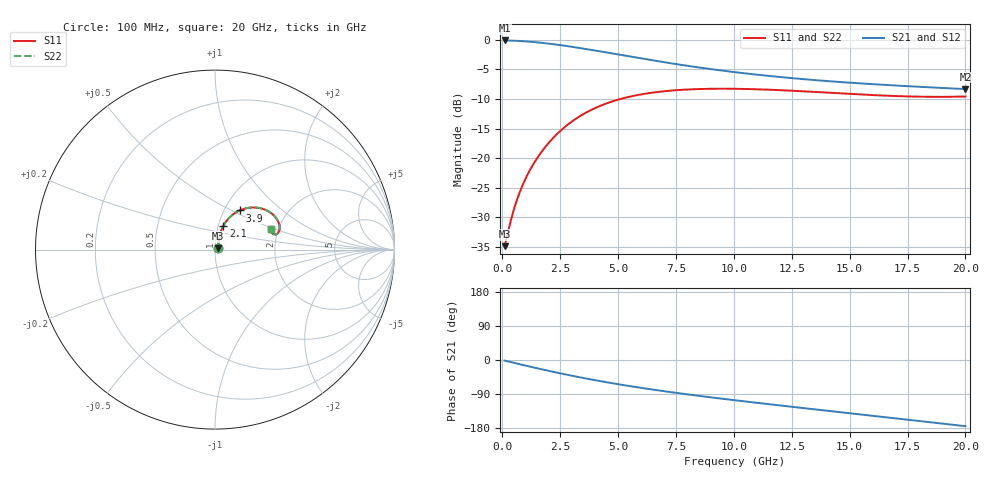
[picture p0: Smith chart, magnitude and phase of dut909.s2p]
! Touchstone file exported from HFSS 2024.1.0
!  File:  C:/UserFiles/LocalFiles/RDL_TSV_Batchsim/temp_RDL_TSV_909_1779955497.aedt
!  Generated:  04:21:03 PM May 28, 2026
!  Design:  RDL_TSV
!  Project:  temp_RDL_TSV_909_1779955497
!  Setup:  Setup1
!  Solution:  Sweep
! Variables:
!  dtsv = 5.76um
!  hbump = 3um
!  htsv = 87.32um
!  ldown = 552.06um
!  lrdl = 160.5um
!  p = 40
!  p1 = 51.88um
!  rhole = 10um
!  subl = 2298.18um
!  t = 450um
!  tdown = 3.81um
!  trdl = 4.17um
!  viad = 10um
!  wdown = 15.46um
!  wrdl = 10.64um
!  xbump = 18um
# GHz S MA R 50.000000
! Terminal data exported
! Port[1] = TM1_1_T1
! Port[2] = TM1_4_T1
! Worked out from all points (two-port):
!   200 points, 100 MHz to 20 GHz, reference 50 ohm
!   highest |S21| = -0.15 dB at 100 MHz (marker M1); lowest = -8.4 dB at 20 GHz (marker M2)
!   |S21| within 3 dB of the highest: start of sweep to 5.945 GHz
!   lowest |S11| = -34.8 dB at 100 MHz (marker M3), VSWR 1.04, Z = 51.7 + j0.681 ohm
!   |S11| at or under -10 dB: start of sweep to 5.124 GHz
!   |S22| runs from -34.8 to -8.3 dB; largest |S21 - S12| = 1.7e-14
!   S11 on the Smith chart (normalised r, x): 100 MHz: 1.03, +0.01; 2.1 GHz: 1.06, +0.29; 3.9 GHz: 1.18, +0.55; 20 GHz: 1.83, +0.46
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0.1  0.0181 21.3  0.983 -1.5  0.983 -1.5  0.0181 21.3
! Gamma 0 0 0 0
! Port Impedance 50 0 50 0
0.4  0.03147 54.1  0.9797 -6.0  0.9797 -6.0  0.03147 54.1
0.5  0.03695 58.9  0.978 -7.4  0.978 -7.4  0.03695 58.9
0.7  0.04848 64.9  0.9739 -10.4  0.9739 -10.4  0.04848 64.9
0.9  0.06062 68.4  0.9688 -13.3  0.9688 -13.3  0.06061 68.4
1.1  0.07326 70.4  0.9627 -16.1  0.9627 -16.1  0.07326 70.4
1.4  0.09301 71.7  0.9519 -20.4  0.9519 -20.4  0.09301 71.7
1.7  0.1135 71.7  0.9391 -24.5  0.9391 -24.5  0.1135 71.7
2.1  0.1414 70.4  0.9198 -29.9  0.9198 -29.9  0.1414 70.5
2.8  0.19 66.3  0.8812 -39.0  0.8812 -39.0  0.19 66.3
3.5  0.2352 60.9  0.8393 -47.5  0.8393 -47.5  0.2353 60.9
3.9  0.2585 57.6  0.8148 -52.1  0.8148 -52.1  0.2586 57.7
4.5  0.2895 52.8  0.7782 -58.7  0.7782 -58.7  0.2896 52.8
5.2  0.3191 47.3  0.7371 -65.9  0.7371 -65.9  0.3193 47.4
6.8  0.3633 36.5  0.6529 -80.7  0.6529 -80.7  0.3636 36.6
8.4  0.3822 28.1  0.5851 -93.9  0.5851 -93.9  0.3826 28.2
10.1  0.3845 21.6  0.5295 -106.6  0.5295 -106.6  0.385 21.6
11.7  0.3766 17.4  0.4895 -117.9  0.4895 -117.9  0.3772 17.4
13.4  0.3628 14.8  0.4569 -129.6  0.4569 -129.6  0.3634 14.8
16.7  0.3356 14.9  0.4128 -152.0  0.4128 -152.0  0.3364 14.9
18.4  0.3291 17.2  0.3961 -163.6  0.3961 -163.6  0.3298 17.2
20  0.331 20.0  0.3823 -174.6  0.3823 -174.6  0.3317 20.0
